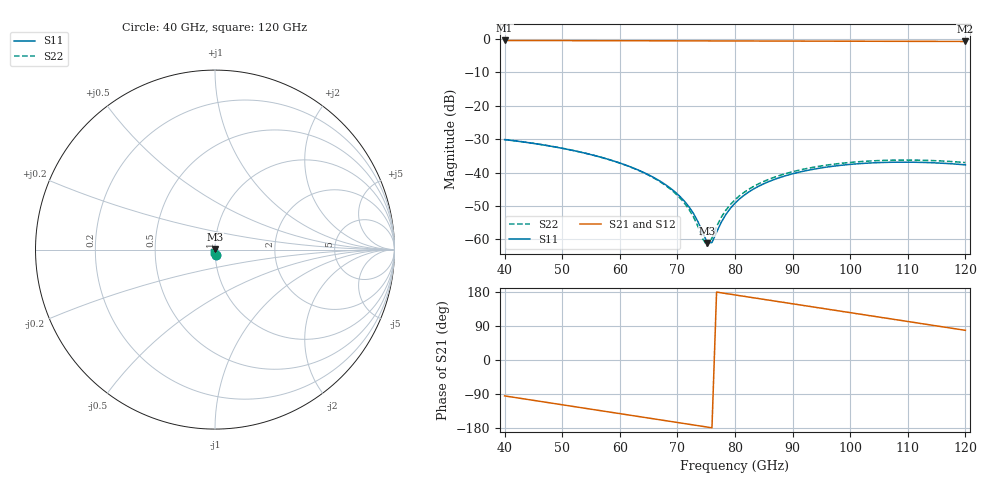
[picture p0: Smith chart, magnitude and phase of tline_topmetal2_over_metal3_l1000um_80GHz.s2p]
#  GHZ S DB R 50
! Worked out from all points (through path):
!   101 points, 40 GHz to 120 GHz, reference 50 ohm
!   highest |S21| = -0.47 dB at 40 GHz (marker M1); lowest = -0.8 dB at 120 GHz (marker M2)
!   group delay of S21, straight-line fit = 6.49 ps
!   lowest |S11| = -61.0 dB at 75.2 GHz (marker M3), VSWR 1.00, Z = 50 + j0.0788 ohm
!   |S11| at or under -10 dB: start of sweep to end of sweep
!   |S22| runs from -62.0 to -30.1 dB; largest |S21 - S12| = 1.1e-14
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40  -30.14 -82.3  -0.47 -94.7  -0.47 -94.7  -30.11 -82.4
46.4  -31.64 -99.2  -0.49 -109.7  -0.49 -109.7  -31.61 -99.3
53.6  -34.04 -118.5  -0.52 -126.6  -0.52 -126.6  -34.02 -118.6
61.6  -38.12 -140.8  -0.55 -145.3  -0.55 -145.3  -38.16 -140.9
67.2  -42.78 -158.3  -0.57 -158.4  -0.57 -158.4  -42.97 -158.3
69.6  -45.79 -167.3  -0.58 -164.0  -0.58 -164.0  -46.15 -167.5
72  -50.21 -180.0  -0.59 -169.6  -0.59 -169.6  -50.96 179.2
73.6  -54.79 164.2  -0.60 -173.3  -0.60 -173.3  -56.22 160.4
74.4  -57.93 148.3  -0.60 -175.2  -0.60 -175.2  -59.81 138.3
75.2  -61.04 117.3  -0.60 -177.1  -0.60 -177.1  -62.01 95.0
76  -60.92 73.0  -0.60 -178.9  -0.60 -178.9  -59.56 53.9
77.6  -54.90 28.5  -0.61 177.3  -0.61 177.3  -53.40 22.5
78.4  -52.56 19.4  -0.61 175.5  -0.61 175.5  -51.26 15.5
80  -49.14 8.3  -0.62 171.7  -0.62 171.7  -48.12 6.0
82.4  -45.78 -2.6  -0.63 166.1  -0.63 166.1  -44.97 -3.9
85.6  -42.88 -13.8  -0.64 158.6  -0.64 158.6  -42.19 -14.7
89.6  -40.54 -26.1  -0.65 149.3  -0.65 149.3  -39.92 -26.7
93.6  -39.00 -37.7  -0.67 139.9  -0.67 139.9  -38.40 -38.1
100.8  -37.43 -57.8  -0.69 123.1  -0.69 123.1  -36.83 -58.0
107.2  -36.90 -75.4  -0.72 108.2  -0.72 108.2  -36.29 -75.4
113.6  -37.01 -92.8  -0.74 93.2  -0.74 93.2  -36.37 -92.6
120  -37.68 -110.1  -0.77 78.3  -0.77 78.3  -37.00 -109.8
